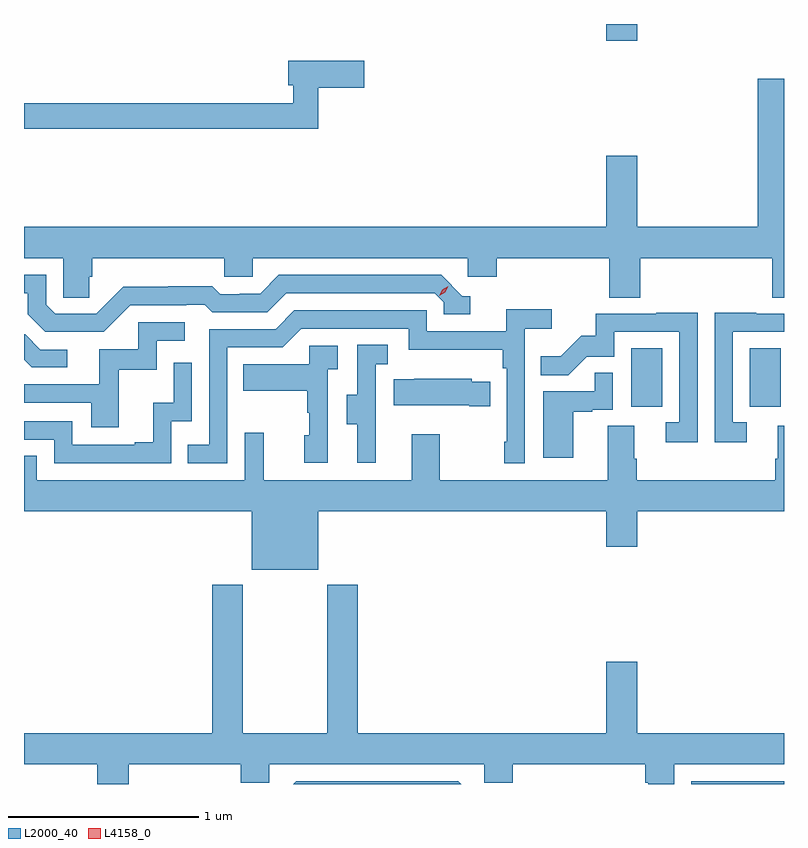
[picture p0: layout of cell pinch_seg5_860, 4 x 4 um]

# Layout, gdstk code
import gdstk
lib = gdstk.Library(unit=1e-6, precision=1e-09)
def R(c, l, rs):  # rectangles x0, y0, x1, y1
    for r in rs: c.add(gdstk.rectangle(r[:2], r[2:], *l))
def P(c, l, *ps):  # polygons
    for p in ps: c.add(gdstk.Polygon(p, *l))
L2000_40 = (2000, 40)
L4158_0 = (4158, 0)

pinch_seg5_860 = lib.new_cell('pinch_seg5_860')
R(pinch_seg5_860, L2000_40, [(836.784,879.3,837.272,879.315), (836.468,881.286,836.632,881.593), (837.092,881.286,837.256,881.593), (836.336,883.212,836.5,883.3)])
P(pinch_seg5_860, L2000_40, [(834.821,882.965),(835.063,882.965),(835.063,883.107),(834.662,883.107),(834.662,882.977),(834.689,882.977),(834.689,882.884),(833.272,882.884),(833.272,882.748),(834.821,882.748)],
  [(833.615,881.97),(833.63,881.97),(833.63,882.068),(834.327,882.068),(834.327,881.97),(834.477,881.97),(834.477,882.068),(835.608,882.068),(835.608,881.97),(835.76,881.97),(835.76,882.068),(836.351,882.068),(836.351,881.86),(836.516,881.86),(836.516,882.068),(837.209,882.068),(837.209,881.86),(837.272,881.86),(837.272,883.012),(837.134,883.012),(837.134,882.232),(836.5,882.232),(836.5,882.607),(836.336,882.607),(836.336,882.232),(833.272,882.232),(833.272,882.068),(833.478,882.068),(833.478,881.86),(833.615,881.86)],
  [(833.832,881.82),(834.125,881.82),(834.125,881.823),(834.224,881.823),(834.263,881.784),(834.552,881.784),(834.651,881.883),(835.434,881.883),(835.482,881.835),(835.482,881.772),(835.621,881.772),(835.621,881.868),(835.578,881.868),(835.467,881.979),(834.614,881.979),(834.515,881.88),(834.408,881.88),(834.408,881.877),(834.305,881.877),(834.263,881.92),(834.03,881.92),(834.03,881.917),(833.794,881.917),(833.652,881.775),(833.436,881.775),(833.388,881.823),(833.388,881.979),(833.272,881.979),(833.272,881.883),(833.291,881.883),(833.291,881.773),(833.385,881.679),(833.691,881.679)],
  [(834.342,881.598),(834.633,881.598),(834.732,881.697),(835.296,881.697),(835.296,881.585),(835.792,881.585),(835.792,881.489),(835.812,881.489),(835.812,881.101),(835.8,881.101),(835.8,880.989),(835.908,880.989),(835.908,881.696),(836.05,881.696),(836.05,881.798),(835.811,881.798),(835.811,881.682),(835.392,881.682),(835.392,881.793),(834.695,881.793),(834.596,881.694),(834.246,881.694),(834.246,881.085),(834.133,881.085),(834.133,880.989),(834.342,880.989)],
  [(837.076,881.205),(837.003,881.205),(837.003,881.679),(837.272,881.679),(837.272,881.775),(837.125,881.775),(837.125,881.78),(836.907,881.78),(836.907,881.1),(837.076,881.1)],
  [(836.817,881.78),(836.599,881.78),(836.599,881.775),(836.281,881.775),(836.281,881.658),(836.204,881.658),(836.097,881.551),(835.993,881.551),(835.993,881.452),(836.137,881.452),(836.235,881.55),(836.379,881.55),(836.379,881.679),(836.721,881.679),(836.721,881.205),(836.649,881.205),(836.649,881.1),(836.817,881.1)],
  [(833.771,881.481),(833.97,881.481),(833.97,881.634),(834.118,881.634),(834.118,881.73),(833.874,881.73),(833.874,881.589),(833.669,881.589),(833.669,881.403),(833.272,881.403),(833.272,881.307),(833.627,881.307),(833.627,881.178),(833.771,881.178)],
  [(833.5,881.586),(833.358,881.586),(833.278,881.666),(833.272,881.666),(833.272,881.533),(833.312,881.493),(833.5,881.493)],
  [(835.124,881.205),(835.122,881.205),(835.122,881.509),(835.186,881.509),(835.186,881.612),(835.026,881.612),(835.026,881.349),(834.971,881.349),(834.971,881.194),(835.025,881.194),(835.025,880.992),(835.124,880.992)],
  [(834.87,881.483),(834.922,881.483),(834.922,881.607),(834.774,881.607),(834.774,881.509),(834.427,881.509),(834.427,881.369),(834.762,881.369),(834.762,881.255),(834.772,881.255),(834.772,881.136),(834.746,881.136),(834.746,880.992),(834.87,880.992)],
  [(834.048,881.208),(834.156,881.208),(834.156,881.518),(834.06,881.518),(834.06,881.306),(833.951,881.306),(833.951,881.098),(833.855,881.098),(833.855,881.085),(833.526,881.085),(833.526,881.208),(833.272,881.208),(833.272,881.112),(833.43,881.112),(833.43,880.989),(834.048,880.989)],
  [(836.164,881.259),(836.264,881.259),(836.264,881.271),(836.37,881.271),(836.37,881.465),(836.275,881.465),(836.275,881.367),(836.006,881.367),(836.006,881.016),(836.164,881.016)],
  [(835.727,881.416),(835.629,881.416),(835.629,881.434),(835.327,881.434),(835.327,881.431),(835.219,881.431),(835.219,881.294),(835.616,881.294),(835.616,881.287),(835.727,881.287)],
  [(834.82,880.736),(836.336,880.736),(836.336,880.548),(836.5,880.548),(836.5,880.736),(837.272,880.736),(837.272,881.186),(837.239,881.186),(837.239,881.012),(837.227,881.012),(837.227,880.9),(836.498,880.9),(836.498,881.012),(836.485,881.012),(836.485,881.186),(836.345,881.186),(836.345,880.9),(835.461,880.9),(835.461,881.14),(835.313,881.14),(835.313,880.9),(834.533,880.9),(834.533,881.149),(834.435,881.149),(834.435,880.9),(833.34,880.9),(833.34,881.027),(833.272,881.027),(833.272,880.736),(834.47,880.736),(834.47,880.427),(834.82,880.427)],
  [(833.822,879.404),(834.413,879.404),(834.413,879.306),(834.564,879.306),(834.564,879.404),(835.695,879.404),(835.695,879.306),(835.845,879.306),(835.845,879.404),(836.543,879.404),(836.543,879.306),(836.557,879.306),(836.557,879.3),(836.694,879.3),(836.694,879.404),(837.272,879.404),(837.272,879.568),(836.5,879.568),(836.5,879.943),(836.336,879.943),(836.336,879.568),(835.028,879.568),(835.028,880.348),(834.868,880.348),(834.868,879.568),(834.423,879.568),(834.423,880.348),(834.263,880.348),(834.263,879.568),(833.272,879.568),(833.272,879.404),(833.657,879.404),(833.657,879.3),(833.822,879.3)],
  [(835.558,879.315),(834.705,879.315),(834.69,879.3),(835.573,879.3)])
P(pinch_seg5_860, L4158_0, [(835.458,881.869),(835.458,881.869),(835.474,881.902),(835.505,881.921),(835.505,881.921),(835.505,881.921),(835.489,881.888),(835.458,881.869)])

lib.write_gds('pinch_seg5_860.gds')
